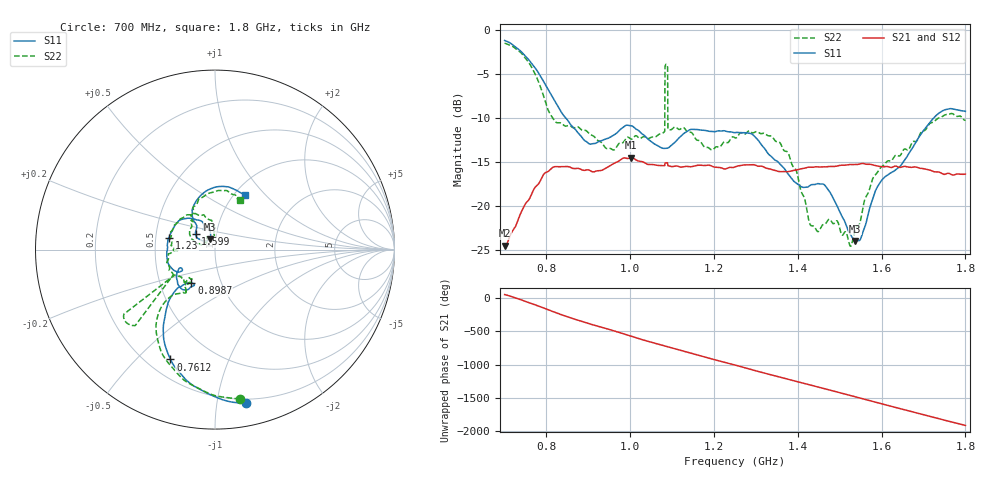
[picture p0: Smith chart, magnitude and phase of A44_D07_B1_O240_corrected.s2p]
! Created with skrf 1.9.0 (http://scikit-rf.org).
# Hz S RI R 50.0
!freq ReS11 ImS11 ReS21 ImS21 ReS12 ImS12 ReS22 ImS22
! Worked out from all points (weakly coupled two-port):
!   1601 points, 700 MHz to 1.8 GHz, reference 50 ohm
!   highest |S21| = -14.53 dB at 1.002 GHz (marker M1); lowest = -24.6 dB at 700.7 MHz (marker M2)
!   lowest |S11| = -24.0 dB at 1.537 GHz (marker M3), VSWR 1.13, Z = 47 + j5.31 ohm
!   |S11| at or under -10 dB: 845.9 MHz to 1.724 GHz (878.6 MHz wide, 68.4 % of centre)
!   |S22| runs from -24.6 to -1.5 dB; largest |S21 - S12| = 0.0036
!   S11 on the Smith chart (normalised r, x): 700 MHz: 0.17, -1.21; 761.2 MHz: 0.29, -0.63; 898.7 MHz: 0.72, -0.28; 1.23 GHz: 0.59, +0.08; 1.599 GHz: 0.79, +0.14; 1.8 GHz: 1.12, +0.77
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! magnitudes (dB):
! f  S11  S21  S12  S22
! 700 MHz  -1.2  -24.6  -24.3  -1.5
! 700.7 MHz  -1.2  -24.6  -24.3  -1.5
! 761.2 MHz  -3.6  -19.0  -18.9  -4.0
! 818.2 MHz  -7.9  -15.6  -15.7  -10.3
! 883.6 MHz  -12.1  -15.9  -15.8  -11.4
! 898.7 MHz  -12.8  -15.9  -16.0  -11.6
! 1.002 GHz  -10.9  -14.5  -14.6  -12.4
! 1.067 GHz  -13.2  -15.4  -15.4  -11.9
! 1.077 GHz  -13.4  -15.4  -15.5  -11.8
! 1.084 GHz  -13.5  -15.1  -15.1  -4.0
! 1.088 GHz  -13.5  -15.1  -15.1  -4.1
! 1.095 GHz  -13.2  -15.5  -15.5  -11.4
! 1.23 GHz  -11.5  -15.8  -15.7  -12.8
! 1.25 GHz  -11.7  -15.6  -15.5  -12.3
! 1.357 GHz  -15.2  -16.1  -16.1  -12.8
! 1.434 GHz  -17.6  -15.6  -15.6  -22.3
! 1.469 GHz  -17.9  -15.6  -15.5  -21.9
! 1.537 GHz  -24.0  -15.3  -15.3  -22.8
! 1.599 GHz  -17.2  -15.6  -15.5  -15.6
! 1.617 GHz  -16.4  -15.6  -15.5  -14.9
! 1.734 GHz  -9.6  -16.1  -16.2  -10.1
! 1.8 GHz  -9.2  -16.4  -16.4  -10.3
